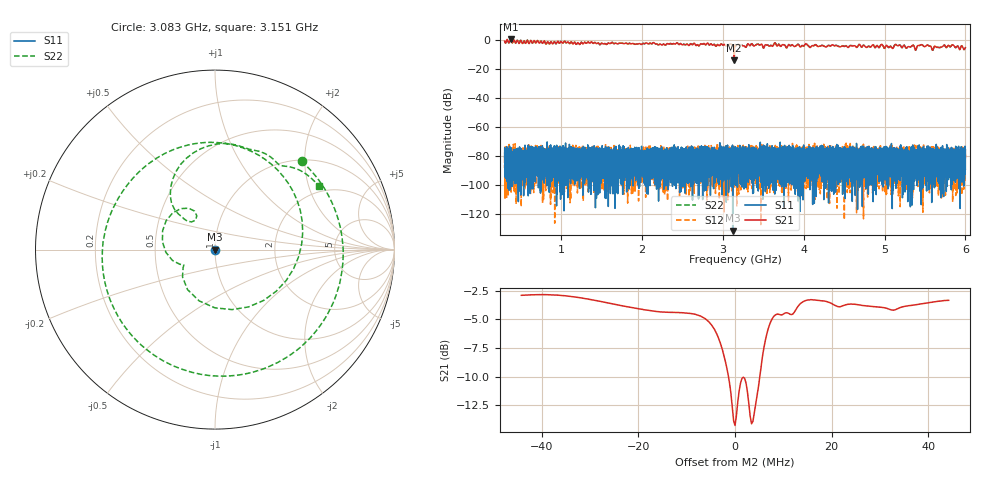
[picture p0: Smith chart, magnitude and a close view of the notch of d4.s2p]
!Agilent Technologies,N5230C,SG49000117,A.08.50.07
!Agilent N5230C: A.08.50.07
!Date: Monday, March 18, 2024 18:49:27
!Correction: S11(Off)
!S21(Off)
!S12(Off)
!S22(Off)
!S2P File: Measurements: S11, S21, S12, S22:
# Hz S  RI  R 50
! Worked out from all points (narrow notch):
!   20001 points, 300 MHz to 6 GHz, reference 50 ohm
!   highest |S21| = 0.46 dB at 374.4 MHz (marker M1); lowest = -14.3 dB at 3.137 GHz (marker M2)
!   notch at M2: 10.8 dB deep, 7.37 MHz wide at half that depth
!   lowest |S11| = -131.7 dB at 3.122 GHz (marker M3), VSWR 1.00, Z = 50 - j1.85e-05 ohm
!   |S11| at or under -10 dB: start of sweep to end of sweep
!   |S22| runs from -14.3 to 0.5 dB; largest |S21 - S12| = 1.1
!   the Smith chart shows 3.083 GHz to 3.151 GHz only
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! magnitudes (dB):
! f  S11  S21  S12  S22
! 300 MHz  -81.0  -0.9  -81.1  -0.9
! 374.4 MHz  -83.1  0.5  -80.9  0.5
! 1.25 GHz  -80.6  -1.7  -82.8  -1.7
! 2.2 GHz  -79.3  -3.6  -83.1  -3.6
! 3.083 GHz  -81.7  -3.3  -74.0  -3.3
! 3.122 GHz  -131.7  -4.3  -85.8  -4.3
! 3.137 GHz  -91.2  -14.3  -82.1  -14.3
! 3.15 GHz  -83.2  -3.8  -78.8  -3.8
! 3.178 GHz  -77.4  -3.5  -78.8  -3.5
! 3.269 GHz  -80.8  -4.3  -81.9  -4.2
! 3.335 GHz  -78.8  -4.1  -80.1  -4.0
! 3.975 GHz  -75.8  -4.1  -76.2  -4.1
! 4.032 GHz  -76.5  -2.8  -82.2  -2.7
! 4.1 GHz  -79.7  -4.2  -88.8  -4.1
! 5.05 GHz  -80.7  -5.4  -79.2  -5.3
! 5.155 GHz  -80.6  -3.9  -78.4  -3.9
! 5.391 GHz  -78.1  -6.5  -80.0  -6.5
! 5.449 GHz  -87.9  -3.5  -74.0  -3.5
! 5.586 GHz  -81.2  -6.4  -100.7  -6.5
! 5.839 GHz  -79.7  -3.4  -75.9  -3.5
! 5.957 GHz  -79.9  -4.2  -85.3  -4.3
! 6 GHz  -76.1  -5.5  -82.2  -5.5
